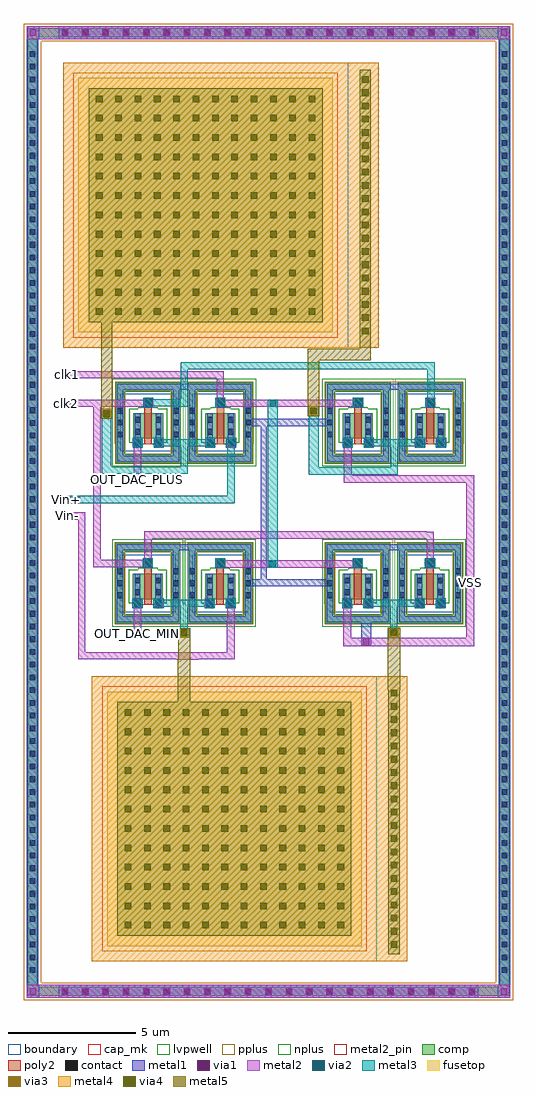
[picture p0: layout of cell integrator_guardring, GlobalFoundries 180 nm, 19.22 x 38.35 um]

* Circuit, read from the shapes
.subckt integrator_guardring OUT_DAC_MIN OUT_DAC_PLUS VSS Vin+ Vin- clk1 clk2
XM1 n1 clk2 OUT_DAC_MIN VSS nfet_03v3 w=1u l=0.3u
XM2 n2 clk2 OUT_DAC_PLUS VSS nfet_03v3 w=1u l=0.3u
XM3 Vin- clk1 n1 VSS nfet_03v3 w=1u l=0.3u
XM4 Vin+ clk1 n2 VSS nfet_03v3 w=1u l=0.3u
XM5 n3 clk1 VSS VSS nfet_03v3 w=1u l=0.3u
XM6 n4 clk1 VSS VSS nfet_03v3 w=1u l=0.3u
XM7 n5 clk2 n3 VSS nfet_03v3 w=1u l=0.3u
XM8 n6 clk2 n4 VSS nfet_03v3 w=1u l=0.3u
XC9 n2 n4 cap_mim_2f0fF c_width=10u c_length=10u
XC10 n1 n3 cap_mim_2f0fF c_width=10u c_length=10u
.ends

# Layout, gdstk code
import gdstk
lib = gdstk.Library(unit=1e-6, precision=5e-09)
def R(c, l, rs):  # rectangles x0, y0, x1, y1
    for r in rs: c.add(gdstk.rectangle(r[:2], r[2:], *l))
def A(c, l, x, y, w, h, nx, ny, dx, dy):  # array of equal rectangles
    R(c, l, [(x+i*dx, y+j*dy, x+i*dx+w, y+j*dy+h) for i in range(nx) for j in range(ny)])
def P(c, l, *ps):  # polygons
    for p in ps: c.add(gdstk.Polygon(p, *l))
boundary = (0, 0)
comp = (22, 0)
poly2 = (30, 0)
pplus = (31, 0)
nplus = (32, 0)
contact = (33, 0)
metal1 = (34, 0)
via1 = (35, 0)
metal2 = (36, 0)
metal2_pin = (36, 10)
via2 = (38, 0)
via3 = (40, 0)
via4 = (41, 0)
metal3 = (42, 0)
metal4 = (46, 0)
fusetop = (75, 0)
metal5 = (81, 0)
cap_mk = (117, 5)
lvpwell = (204, 0)

integrator_guardring = lib.new_cell('integrator_guardring')
R(integrator_guardring, boundary, [(-1.11,-20.035,10.09,-8.835), (-0.01,-6.31,2.19,-4.05), (2.83,-6.31,5.03,-4.05), (8.235,-6.31,10.435,-4.05), (11.075,-6.31,13.275,-4.05), (0,0,2.2,2.26), (2.84,0,5.04,2.26), (8.245,0,10.445,2.26), (11.085,0,13.285,2.26), (-2.24,4.075,8.96,15.275)])
A(integrator_guardring, comp, -2.35, -21.395, 0.36, 0.36, 21, 2, 0.8, 37.67)
A(integrator_guardring, comp, -3.62, -20.56, 0.36, 0.36, 1, 73, 0, 0.5)
A(integrator_guardring, comp, 14.92, -20.56, 0.36, 0.36, 1, 73, 0, 0.5)
R(integrator_guardring, comp, [(-2.35,-21.395,14.01,-21.035), (-3.62,-20.56,-3.26,15.8), (14.92,-20.56,15.28,15.8), (-0.19,-6.775,2.37,-6.415), (2.65,-6.775,5.21,-6.415), (8.055,-6.775,10.615,-6.415), (10.895,-6.775,13.455,-6.415), (-0.19,-6.415,0.17,-3.945), (2.01,-6.415,2.37,-3.945), (2.65,-6.415,3.01,-3.945), (4.85,-6.415,5.21,-3.945), (8.055,-6.415,8.415,-3.945), (10.255,-6.415,10.615,-3.945), (10.895,-6.415,11.255,-3.945), (13.095,-6.415,13.455,-3.945), (0.5,-5.8,1.68,-4.8), (3.34,-5.8,4.52,-4.8), (8.745,-5.8,9.925,-4.8), (11.585,-5.8,12.765,-4.8), (-0.19,-3.945,2.37,-3.585), (2.65,-3.945,5.21,-3.585), (8.055,-3.945,10.615,-3.585), (10.895,-3.945,13.455,-3.585), (-0.18,-0.465,2.38,-0.105), (2.66,-0.465,5.22,-0.105), (8.065,-0.465,10.625,-0.105), (10.905,-0.465,13.465,-0.105), (-0.18,-0.105,0.18,2.365), (2.02,-0.105,2.38,2.365), (2.66,-0.105,3.02,2.365), (4.86,-0.105,5.22,2.365), (8.065,-0.105,8.425,2.365), (10.265,-0.105,10.625,2.365), (10.905,-0.105,11.265,2.365), (13.105,-0.105,13.465,2.365), (0.51,0.51,1.69,1.51), (3.35,0.51,4.53,1.51), (8.755,0.51,9.935,1.51), (11.595,0.51,12.775,1.51), (-0.18,2.365,2.38,2.725), (2.66,2.365,5.22,2.725), (8.065,2.365,10.625,2.725), (10.905,2.365,13.465,2.725), (-2.35,16.275,14.01,16.635)])
P(integrator_guardring, comp, [(-3.62,-21.395),(-3.62,-21.035),(-3.26,-21.035),(14.92,-21.035),(14.92,16.275),(-3.26,16.275),(-3.26,-21.035),(-3.62,-21.035),(-3.62,16.635),(15.28,16.635),(15.28,-21.395)])
R(integrator_guardring, poly2, [(0.94,-6.02,1.24,-4.6), (3.78,-6.02,4.08,-4.6), (9.185,-6.02,9.485,-4.6), (12.025,-6.02,12.325,-4.6), (0.91,-4.6,1.27,-4.24), (3.75,-4.6,4.11,-4.24), (9.155,-4.6,9.515,-4.24), (11.995,-4.6,12.355,-4.24), (0.95,0.29,1.25,1.71), (3.79,0.29,4.09,1.71), (9.195,0.29,9.495,1.71), (12.035,0.29,12.335,1.71), (0.92,1.71,1.28,2.07), (3.76,1.71,4.12,2.07), (9.165,1.71,9.525,2.07), (12.005,1.71,12.365,2.07)])
R(integrator_guardring, pplus, [(-0.21,-6.795,2.39,-6.395), (2.39,-6.795,2.63,-6.005), (2.63,-6.795,5.23,-6.395), (8.035,-6.795,10.635,-6.395), (10.635,-6.795,10.875,-6.005), (10.875,-6.795,13.475,-6.395), (-0.21,-6.395,0.2,-6.005), (1.98,-6.395,2.39,-6.005), (2.63,-6.395,3.04,-6.005), (4.82,-6.395,5.23,-6.005), (8.035,-6.395,8.445,-6.005), (10.225,-6.395,10.635,-6.005), (10.875,-6.395,11.285,-6.005), (13.065,-6.395,13.475,-6.005), (-0.22,-6.005,0.2,-4.355), (1.98,-6.005,2.4,-4.355), (2.4,-6.005,2.62,-4.355), (2.62,-6.005,3.04,-4.355), (4.82,-6.005,5.24,-4.355), (8.025,-6.005,8.445,-4.355), (10.225,-6.005,10.645,-4.355), (10.645,-6.005,10.865,-4.355), (10.865,-6.005,11.285,-4.355), (13.065,-6.005,13.485,-4.355), (-0.21,-4.355,0.2,-3.965), (1.98,-4.355,2.39,-3.965), (2.39,-4.355,2.63,-3.565), (2.63,-4.355,3.04,-3.965), (4.82,-4.355,5.23,-3.965), (8.035,-4.355,8.445,-3.965), (10.225,-4.355,10.635,-3.965), (10.635,-4.355,10.875,-3.565), (10.875,-4.355,11.285,-3.965), (13.065,-4.355,13.475,-3.965), (-0.21,-3.965,2.39,-3.565), (2.63,-3.965,5.23,-3.565), (8.035,-3.965,10.635,-3.565), (10.875,-3.965,13.475,-3.565), (-0.2,-0.485,2.4,-0.085), (2.4,-0.485,2.64,0.305), (2.64,-0.485,5.24,-0.085), (8.045,-0.485,10.645,-0.085), (10.645,-0.485,10.885,0.305), (10.885,-0.485,13.485,-0.085), (-0.2,-0.085,0.21,0.305), (1.99,-0.085,2.4,0.305), (2.64,-0.085,3.05,0.305), (4.83,-0.085,5.24,0.305), (8.045,-0.085,8.455,0.305), (10.235,-0.085,10.645,0.305), (10.885,-0.085,11.295,0.305), (13.075,-0.085,13.485,0.305), (-0.21,0.305,0.21,1.955), (1.99,0.305,2.41,1.955), (2.41,0.305,2.63,1.955), (2.63,0.305,3.05,1.955), (4.83,0.305,5.25,1.955), (8.035,0.305,8.455,1.955), (10.235,0.305,10.655,1.955), (10.655,0.305,10.875,1.955), (10.875,0.305,11.295,1.955), (13.075,0.305,13.495,1.955), (-0.2,1.955,0.21,2.345), (1.99,1.955,2.4,2.345), (2.4,1.955,2.64,2.745), (2.64,1.955,3.05,2.345), (4.83,1.955,5.24,2.345), (8.045,1.955,8.455,2.345), (10.235,1.955,10.645,2.345), (10.645,1.955,10.885,2.745), (10.885,1.955,11.295,2.345), (13.075,1.955,13.485,2.345), (-0.2,2.345,2.4,2.745), (2.64,2.345,5.24,2.745), (8.045,2.345,10.645,2.745), (10.885,2.345,13.485,2.745)])
P(integrator_guardring, pplus, [(-3.78,-21.555),(-3.78,-20.875),(-3.1,-20.875),(14.76,-20.875),(14.76,16.115),(-3.1,16.115),(-3.1,-20.875),(-3.78,-20.875),(-3.78,16.795),(15.44,16.795),(15.44,-21.555)])
R(integrator_guardring, nplus, [(0.71,-6.03,1.47,-5.96), (3.55,-6.03,4.31,-5.96), (8.955,-6.03,9.715,-5.96), (11.795,-6.03,12.555,-5.96), (0.34,-5.96,1.84,-4.64), (3.18,-5.96,4.68,-4.64), (8.585,-5.96,10.085,-4.64), (11.425,-5.96,12.925,-4.64), (0.71,-4.64,1.47,-4.57), (3.55,-4.64,4.31,-4.57), (8.955,-4.64,9.715,-4.57), (11.795,-4.64,12.555,-4.57), (0.72,0.28,1.48,0.35), (3.56,0.28,4.32,0.35), (8.965,0.28,9.725,0.35), (11.805,0.28,12.565,0.35), (0.35,0.35,1.85,1.67), (3.19,0.35,4.69,1.67), (8.595,0.35,10.095,1.67), (11.435,0.35,12.935,1.67), (0.72,1.67,1.48,1.74), (3.56,1.67,4.32,1.74), (8.965,1.67,9.725,1.74), (11.805,1.67,12.565,1.74)])
A(integrator_guardring, contact, -2.28, -21.325, 0.22, 0.22, 21, 2, 0.8, 37.67)
A(integrator_guardring, contact, -3.55, -20.49, 0.22, 0.22, 1, 73, 0, 0.5)
A(integrator_guardring, contact, 14.99, -20.49, 0.22, 0.22, 1, 73, 0, 0.5)
A(integrator_guardring, contact, -0.12, -5.76, 0.22, 0.22, 1, 3, 0, 0.47)
A(integrator_guardring, contact, 2.08, -5.76, 0.22, 0.22, 1, 3, 0, 0.47)
A(integrator_guardring, contact, 2.72, -5.76, 0.22, 0.22, 1, 3, 0, 0.47)
A(integrator_guardring, contact, 4.92, -5.76, 0.22, 0.22, 1, 3, 0, 0.47)
A(integrator_guardring, contact, 8.125, -5.76, 0.22, 0.22, 1, 3, 0, 0.47)
A(integrator_guardring, contact, 10.325, -5.76, 0.22, 0.22, 1, 3, 0, 0.47)
A(integrator_guardring, contact, 10.965, -5.76, 0.22, 0.22, 1, 3, 0, 0.47)
A(integrator_guardring, contact, 13.165, -5.76, 0.22, 0.22, 1, 3, 0, 0.47)
A(integrator_guardring, contact, -0.11, 0.55, 0.22, 0.22, 1, 3, 0, 0.47)
A(integrator_guardring, contact, 2.09, 0.55, 0.22, 0.22, 1, 3, 0, 0.47)
A(integrator_guardring, contact, 2.73, 0.55, 0.22, 0.22, 1, 3, 0, 0.47)
A(integrator_guardring, contact, 4.93, 0.55, 0.22, 0.22, 1, 3, 0, 0.47)
A(integrator_guardring, contact, 8.135, 0.55, 0.22, 0.22, 1, 3, 0, 0.47)
A(integrator_guardring, contact, 10.335, 0.55, 0.22, 0.22, 1, 3, 0, 0.47)
A(integrator_guardring, contact, 10.975, 0.55, 0.22, 0.22, 1, 3, 0, 0.47)
A(integrator_guardring, contact, 13.175, 0.55, 0.22, 0.22, 1, 3, 0, 0.47)
R(integrator_guardring, contact, [(0.57,-5.645,0.79,-5.425), (1.39,-5.645,1.61,-5.425), (3.41,-5.645,3.63,-5.425), (4.23,-5.645,4.45,-5.425), (8.815,-5.645,9.035,-5.425), (9.635,-5.645,9.855,-5.425), (11.655,-5.645,11.875,-5.425), (12.475,-5.645,12.695,-5.425), (0.57,-5.175,0.79,-4.955), (1.39,-5.175,1.61,-4.955), (3.41,-5.175,3.63,-4.955), (4.23,-5.175,4.45,-4.955), (8.815,-5.175,9.035,-4.955), (9.635,-5.175,9.855,-4.955), (11.655,-5.175,11.875,-4.955), (12.475,-5.175,12.695,-4.955), (0.98,-4.53,1.2,-4.31), (3.82,-4.53,4.04,-4.31), (9.225,-4.53,9.445,-4.31), (12.065,-4.53,12.285,-4.31), (0.58,0.665,0.8,0.885), (1.4,0.665,1.62,0.885), (3.42,0.665,3.64,0.885), (4.24,0.665,4.46,0.885), (8.825,0.665,9.045,0.885), (9.645,0.665,9.865,0.885), (11.665,0.665,11.885,0.885), (12.485,0.665,12.705,0.885), (0.58,1.135,0.8,1.355), (1.4,1.135,1.62,1.355), (3.42,1.135,3.64,1.355), (4.24,1.135,4.46,1.355), (8.825,1.135,9.045,1.355), (9.645,1.135,9.865,1.355), (11.665,1.135,11.885,1.355), (12.485,1.135,12.705,1.355), (0.99,1.78,1.21,2), (3.83,1.78,4.05,2), (9.235,1.78,9.455,2), (12.075,1.78,12.295,2)])
A(integrator_guardring, metal1, -2.42, -21.465, 0.5, 0.5, 21, 2, 0.8, 37.67)
A(integrator_guardring, metal1, -3.67, -20.61, 0.46, 0.46, 1, 73, 0, 0.5)
A(integrator_guardring, metal1, 14.87, -20.61, 0.46, 0.46, 1, 73, 0, 0.5)
R(integrator_guardring, metal1, [(-3.67,-21.465,-3.17,-20.965), (-3.67,-21.465,-3.17,-20.965), (-3.67,-21.465,-3.21,-21.035), (-2.42,-21.465,14.08,-20.965), (14.83,-21.465,15.33,-20.965), (14.83,-21.465,15.33,-20.965), (14.87,-21.465,15.33,-21.035), (-3.67,-21.035,-3.21,16.275), (14.87,-21.035,15.33,16.275), (9.475,-7.65,9.865,-6.71), (-0.125,-6.71,2.305,-6.48), (2.715,-6.71,5.145,-6.48), (8.12,-6.71,10.55,-6.48), (9.215,-6.71,9.45,-6.495), (10.96,-6.71,13.39,-6.48), (9.215,-6.495,9.44,-6.48), (-0.125,-6.48,0.105,-3.88), (2.075,-6.48,2.305,-3.88), (2.715,-6.48,2.945,-3.88), (4.915,-6.48,5.145,-3.88), (8.12,-6.48,8.35,-3.88), (10.32,-6.48,10.55,-3.88), (10.96,-6.48,11.19,-3.88), (13.16,-6.48,13.39,-3.88), (0.49,-6.125,0.87,-5.825), (1.315,-6.125,1.695,-5.825), (3.33,-6.125,3.71,-5.825), (4.155,-6.125,4.535,-5.825), (8.735,-6.125,9.115,-5.825), (9.56,-6.125,9.94,-5.825), (11.575,-6.125,11.955,-5.825), (12.4,-6.125,12.78,-5.825), (0.565,-5.825,0.795,-4.81), (1.385,-5.825,1.615,-4.81), (3.405,-5.825,3.635,-4.81), (4.225,-5.825,4.455,-4.81), (8.81,-5.825,9.04,-4.81), (9.63,-5.825,9.86,-4.81), (11.65,-5.825,11.88,-4.81), (12.47,-5.825,12.7,-4.81), (5.145,-5.305,8.12,-5.025), (5.52,-5.025,5.76,0.995), (0.89,-4.6,1.29,-4.2), (3.73,-4.6,4.13,-4.2), (9.135,-4.6,9.535,-4.2), (11.975,-4.6,12.375,-4.2), (8.12,-4.345,8.125,-4.05), (-0.125,-3.88,2.305,-3.65), (2.075,-3.88,2.79,-3.65), (2.715,-3.88,5.145,-3.65), (8.12,-3.88,10.55,-3.65), (10.32,-3.88,11.035,-3.65), (10.96,-3.88,13.39,-3.65), (-0.115,-0.4,2.315,-0.17), (2.725,-0.4,5.155,-0.17), (8.13,-0.4,10.56,-0.17), (10.97,-0.4,13.4,-0.17), (-0.115,-0.17,0.115,2.43), (2.085,-0.17,2.315,2.43), (2.725,-0.17,2.955,2.43), (4.925,-0.17,5.155,2.43), (8.13,-0.17,8.36,2.43), (10.33,-0.17,10.56,2.43), (10.97,-0.17,11.2,2.43), (13.17,-0.17,13.4,2.43), (0.5,0.185,0.88,0.485), (1.325,0.185,1.705,0.485), (3.34,0.185,3.72,0.485), (4.165,0.185,4.545,0.485), (8.745,0.185,9.125,0.485), (9.57,0.185,9.95,0.485), (11.585,0.185,11.965,0.485), (12.41,0.185,12.79,0.485), (0.575,0.485,0.805,1.5), (1.395,0.485,1.625,1.5), (3.415,0.485,3.645,1.5), (4.235,0.485,4.465,1.5), (8.82,0.485,9.05,1.5), (9.64,0.485,9.87,1.5), (11.66,0.485,11.89,1.5), (12.48,0.485,12.71,1.5), (5.155,0.995,8.13,1.275), (0.9,1.71,1.3,2.11), (3.74,1.71,4.14,2.11), (9.145,1.71,9.545,2.11), (11.985,1.71,12.385,2.11), (10.535,2.425,11.1,2.66), (-0.115,2.43,2.315,2.66), (2.085,2.43,2.755,2.66), (2.725,2.43,5.155,2.66), (8.13,2.43,10.56,2.66), (10.97,2.43,13.4,2.66), (-3.67,16.205,-3.17,16.705), (-3.67,16.205,-3.17,16.705), (-2.42,16.205,14.08,16.705), (14.83,16.205,15.33,16.705), (14.83,16.205,15.33,16.705), (-3.67,16.275,-3.21,16.705), (14.87,16.275,15.33,16.705)])
A(integrator_guardring, via1, -2.3, -21.345, 0.26, 0.26, 21, 2, 0.8, 37.67)
R(integrator_guardring, via1, [(-3.55,-21.345,-3.29,-21.085), (14.95,-21.345,15.21,-21.085), (9.535,-7.625,9.795,-7.365), (0.55,-6.105,0.81,-5.845), (3.39,-6.105,3.65,-5.845), (8.795,-6.105,9.055,-5.845), (11.635,-6.105,11.895,-5.845), (1.375,-6.1,1.635,-5.84), (4.215,-6.1,4.475,-5.84), (9.62,-6.1,9.88,-5.84), (12.46,-6.1,12.72,-5.84), (0.965,-4.545,1.225,-4.285), (3.805,-4.545,4.065,-4.285), (9.21,-4.545,9.47,-4.285), (12.05,-4.545,12.31,-4.285), (0.56,0.205,0.82,0.465), (3.4,0.205,3.66,0.465), (8.805,0.205,9.065,0.465), (11.645,0.205,11.905,0.465), (1.385,0.21,1.645,0.47), (4.225,0.21,4.485,0.47), (9.63,0.21,9.89,0.47), (12.47,0.21,12.73,0.47), (0.975,1.765,1.235,2.025), (3.815,1.765,4.075,2.025), (9.22,1.765,9.48,2.025), (12.06,1.765,12.32,2.025), (-3.55,16.325,-3.29,16.585), (14.95,16.325,15.21,16.585)])
A(integrator_guardring, metal2, -2.42, -21.465, 0.5, 0.5, 21, 2, 0.8, 37.67)
R(integrator_guardring, metal2, [(-3.67,-21.465,-3.17,-20.965), (-3.67,-21.465,-3.17,-20.965), (-3.67,-21.465,-3.26,-20.965), (-3.26,-21.465,14.92,-20.965), (14.83,-21.465,15.33,-20.965), (14.83,-21.465,15.33,-20.965), (14.92,-21.465,15.33,-20.965), (2.22,-8.18,3.075,-8.175), (-1.655,-8.175,4.51,-7.89), (-1.655,-7.89,-1.37,-2.68), (4.195,-7.89,4.51,-6.635), (8.775,-7.65,13.92,-7.33), (8.775,-7.33,9.09,-6.13), (13.61,-7.33,13.92,-3.155), (0.54,-7.245,0.835,-5.995), (4.205,-6.635,4.51,-6.13), (0.485,-6.165,0.885,-5.765), (1.31,-6.165,1.71,-5.765), (3.325,-6.165,3.725,-5.765), (4.15,-6.165,4.55,-5.765), (8.73,-6.165,9.13,-5.765), (9.555,-6.165,9.955,-5.765), (11.57,-6.165,11.97,-5.765), (12.395,-6.165,12.795,-5.765), (0.89,-4.6,1.29,-4.2), (3.73,-4.6,4.13,-4.2), (9.135,-4.6,9.535,-4.2), (11.975,-4.6,12.375,-4.2), (4.125,-4.565,9.135,-4.28), (-1.055,-4.55,1.245,-4.265), (-1.055,-4.265,-0.77,1.755), (0.955,-4.205,1.235,-3.43), (12.04,-4.2,12.32,-3.43), (0.955,-3.43,12.32,-3.15), (13.61,-3.155,13.915,-1.23), (0.955,-3.15,12.05,-3.145), (-2.24,-2.68,-1.37,-2.385), (-2.255,-2.04,-1.56,-1.755), (-2.255,-1.755,-1.87,-1.75), (8.785,-1.23,13.915,-0.94), (0.535,-1.225,0.835,-0.295), (8.79,-0.94,9.1,0.31), (0.54,-0.295,0.835,0.34), (0.495,0.145,0.895,0.545), (1.32,0.145,1.72,0.545), (3.335,0.145,3.735,0.545), (4.16,0.145,4.56,0.545), (8.74,0.145,9.14,0.545), (9.565,0.145,9.965,0.545), (11.58,0.145,11.98,0.545), (12.405,0.145,12.805,0.545), (0.9,1.71,1.3,2.11), (3.74,1.71,4.14,2.11), (9.145,1.71,9.545,2.11), (11.985,1.71,12.385,2.11), (4.065,1.75,9.165,2.025), (-2.24,1.755,1.225,2.04), (3.795,2.025,9.165,2.035), (3.795,2.035,4.075,2.875), (-2.225,2.875,4.075,3.16), (-3.67,16.205,-3.17,16.705), (-3.67,16.205,-3.17,16.705), (-3.67,16.205,-3.26,16.705), (-3.26,16.205,14.92,16.705), (14.83,16.205,15.33,16.705), (14.83,16.205,15.33,16.705), (14.92,16.205,15.33,16.705)])
R(integrator_guardring, metal2_pin, [(-2.225,-2.68,-1.94,-2.39), (-2.245,-2.04,-1.96,-1.755), (-2.24,1.755,-1.955,2.04), (-2.225,2.875,-1.94,3.16)])
R(integrator_guardring, via2, [(0.56,-6.095,0.82,-5.835), (3.4,-6.095,3.66,-5.835), (8.805,-6.095,9.065,-5.835), (11.645,-6.095,11.905,-5.835), (1.385,-6.09,1.645,-5.83), (4.225,-6.09,4.485,-5.83), (9.63,-6.09,9.89,-5.83), (12.47,-6.09,12.73,-5.83), (5.86,-4.55,6.12,-4.29), (0.985,-4.525,1.245,-4.265), (3.825,-4.525,4.085,-4.265), (9.23,-4.525,9.49,-4.265), (12.07,-4.525,12.33,-4.265), (-1.885,-2.03,-1.625,-1.77), (0.57,0.215,0.83,0.475), (3.41,0.215,3.67,0.475), (8.815,0.215,9.075,0.475), (11.655,0.215,11.915,0.475), (1.395,0.22,1.655,0.48), (4.235,0.22,4.495,0.48), (9.64,0.22,9.9,0.48), (12.48,0.22,12.74,0.48), (5.87,1.76,6.13,2.02), (0.995,1.785,1.255,2.045), (3.835,1.785,4.095,2.045), (9.24,1.785,9.5,2.045), (12.08,1.785,12.34,2.045)])
R(integrator_guardring, via3, [(2.375,-7.26,2.635,-7), (10.62,-7.245,10.88,-6.985), (-0.665,1.35,-0.405,1.61), (7.47,1.455,7.73,1.715)])
A(integrator_guardring, via4, 10.63, -19.505, 0.26, 0.26, 1, 20, 0, 0.52)
A(integrator_guardring, via4, 0.18, -18.745, 0.26, 0.26, 12, 12, 0.76, 0.76)
A(integrator_guardring, via4, 9.5, 4.605, 0.26, 0.26, 1, 20, 0, 0.52)
A(integrator_guardring, via4, -0.95, 5.365, 0.26, 0.26, 12, 12, 0.76, 0.76)
R(integrator_guardring, via4, [(2.375,-7.255,2.635,-6.995), (10.62,-7.245,10.88,-6.985), (-0.665,1.35,-0.405,1.61), (7.47,1.455,7.73,1.715)])
R(integrator_guardring, metal3, [(2.315,-7.33,2.71,-6.95), (10.555,-7.31,10.95,-6.925), (2.365,-6.95,2.655,-6.1), (10.615,-6.925,10.895,-6.1), (0.485,-6.165,0.885,-5.765), (1.31,-6.165,1.71,-5.765), (3.325,-6.165,3.725,-5.765), (4.15,-6.165,4.55,-5.765), (8.73,-6.165,9.13,-5.765), (9.555,-6.165,9.955,-5.765), (11.57,-6.165,11.97,-5.765), (12.395,-6.165,12.795,-5.765), (1.655,-6.1,3.395,-5.82), (9.895,-6.1,11.635,-5.82), (0.89,-4.6,1.29,-4.2), (3.73,-4.6,4.13,-4.2), (9.135,-4.6,9.535,-4.2), (11.975,-4.6,12.375,-4.2), (5.8,-4.565,6.2,2.035), (-1.955,-2.04,1.825,-2.035), (-1.955,-2.035,4.465,-2.03), (-1.955,-2.03,4.505,-1.75), (4.21,-1.75,4.505,-1.64), (4.21,-1.64,4.51,-1.4), (4.215,-1.4,4.51,0.475), (7.41,-0.925,10.905,-0.625), (-0.73,-0.88,2.66,-0.595), (7.41,-0.625,7.795,1.78), (10.625,-0.625,10.905,0.205), (-0.73,-0.595,-0.34,1.155), (2.38,-0.595,2.66,0.205), (0.495,0.145,0.895,0.545), (1.32,0.145,1.72,0.545), (3.335,0.145,3.735,0.545), (4.16,0.145,4.56,0.545), (8.74,0.145,9.14,0.545), (9.565,0.145,9.965,0.545), (11.58,0.145,11.98,0.545), (12.405,0.145,12.805,0.545), (1.645,0.205,3.415,0.485), (9.895,0.205,11.665,0.485), (-0.725,1.155,-0.34,1.675), (0.9,1.71,1.3,2.11), (3.74,1.71,4.14,2.11), (9.145,1.71,9.545,2.11), (11.985,1.71,12.385,2.11), (2.375,1.765,2.66,1.77), (1.165,1.77,2.66,2.055), (12.075,1.78,12.36,3.22), (2.375,2.055,2.66,3.225), (3.425,3.22,12.36,3.225), (2.375,3.225,12.36,3.505), (12.075,3.505,12.36,3.51)])
R(integrator_guardring, metal4, [(-1.11,-20.035,11.29,-8.835), (2.315,-7.33,2.71,-6.95), (10.555,-7.315,10.95,-6.925), (-0.725,1.29,-0.34,1.675), (7.415,1.4,7.795,1.78), (-2.24,4.075,10.16,15.275)])
R(integrator_guardring, fusetop, [(-0.51,-19.435,9.49,-9.435), (-1.64,4.675,8.36,14.675)])
R(integrator_guardring, metal5, [(10.54,-19.75,10.98,-9.12), (-0.11,-19.035,9.09,-9.835), (2.27,-9.965,2.76,-8.155), (10.52,-9.385,11,-6.925), (2.275,-8.155,2.755,-6.95), (-0.75,1.28,-0.31,2.765), (7.38,1.38,7.825,3.585), (-0.75,2.765,-0.305,3.075), (-0.745,3.075,-0.305,3.61), (7.38,3.585,9.85,4.025), (-0.75,3.61,-0.305,5.075), (9.41,4.025,9.85,4.445), (9.41,4.36,9.85,14.99), (-1.24,5.075,7.96,14.275), (-0.75,5.075,-0.31,5.405)])
R(integrator_guardring, cap_mk, [(-0.71,-19.635,9.69,-9.235), (-1.84,4.475,8.56,14.875)])
R(integrator_guardring, lvpwell, [(-0.31,-6.895,2.495,-6.03), (2.53,-6.895,5.335,-6.03), (7.935,-6.895,10.74,-6.03), (10.775,-6.895,13.58,-6.03), (-0.31,-6.03,2.49,-3.46), (2.53,-6.03,5.33,-3.46), (7.935,-6.03,10.735,-3.46), (10.775,-6.03,13.575,-3.46), (-0.3,-0.585,2.505,0.28), (2.54,-0.585,5.345,0.28), (7.945,-0.585,10.75,0.28), (10.785,-0.585,13.59,0.28), (-0.3,0.28,2.5,2.85), (2.54,0.28,5.34,2.85), (7.945,0.28,10.745,2.85), (10.785,0.28,13.585,2.85)])
integrator_guardring.add(gdstk.Label('OUT_DAC_PLUS', (0.685,-1.115), layer=36, texttype=0))
integrator_guardring.add(gdstk.Label('OUT_DAC_MIN', (0.69,-7.135), layer=36, texttype=0))
integrator_guardring.add(gdstk.Label('VSS', (13.765,-5.16), layer=36, texttype=0))
integrator_guardring.add(gdstk.Label('Vin+', (-2.1,-1.895), layer=36, texttype=10))
integrator_guardring.add(gdstk.Label('Vin-', (-2.08,-2.535), layer=36, texttype=10))
integrator_guardring.add(gdstk.Label('clk1', (-2.08,3.015), layer=36, texttype=10))
integrator_guardring.add(gdstk.Label('clk2', (-2.095,1.895), layer=36, texttype=10))

lib.write_gds('integrator_guardring.gds')
